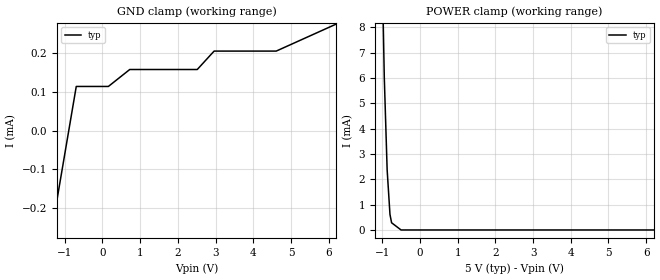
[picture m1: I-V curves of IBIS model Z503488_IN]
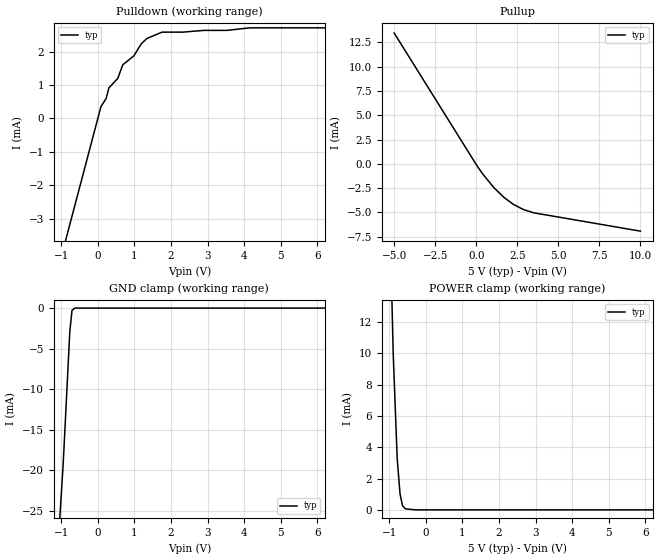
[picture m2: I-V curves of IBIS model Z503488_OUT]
| YOU ARE ONLY AUTHORIZED TO USE THIS SOFTWARE
| ACCORDING TO LICENSOR'S LICENSE RESTRICTIONS.
[IBIS Ver] 3.1
[File Name] mc14018bcl.ibs
[File Rev] 2.0
[Source] Measured and created by ICX Technology
[Date] Friday 7/14/00 9:07:51 AM
[Copyright]
| (C) COPYRIGHT 1993-2000
| MENTOR GRAPHICS CORPORATION
| ICX STANDARD LIBRARY, ICX PROJECT MODELING,
| ICX CUSTOM MODELING, ICX VENDOR MODEL
| ALL RIGHTS RESERVED.
| THE FOLLOWING ARE TRADEMARKS OR SERVICE MARKS OF
| MENTOR GRAPHICS CORPORATION:ICX (R), ICX STANDARD
| LIBRARY(R), ICX PROJECT MODELING(R), ICX CUSTOM
| MODELING(R), qualityIBIS(TM), MODELVIEWER(TM),
| AND MODELEDITOR(TM)
| ALL COPIES OF SOFTWARE, INCLUDING BUT NOT LIMITED TO
| ANY MODIFICATIONS, ENHANCEMENTS OR DERIVATIVE WORKS,
| MUST CONTAIN ALL MENTOR GRAPHICS CORPORATION'S
| NOTICES AND LEGENDS, INCLUDING THOSE EMBEDDED IN
| SOFTWARE AND THOSE AFFIXED TO SOFTWARE MEDIUM
| AND CONTAINER, AS RECEIVED FROM MENTOR GRAPHICS
| CORPORATION.
|  ZAP Model Builder 2.7
[Component] MC14018BCL
[Manufacturer] OnSemiconductor
[Package]
| variable   typ   min   max
R_pkg  .212ohms NA NA
L_pkg  4.758nH NA NA
C_pkg  1.944pF NA NA
[Pin] signal_name  model_name  R_pin  L_pin C_pin
1 DIN Z503488_IN .224 7.258n 2.683p
2 J1 Z503488_IN .216 5.258n 2.19p
3 J2 Z503488_IN .208 3.758n 1.697p
4 _Q2 Z503488_OUT .2 2.758n 1.204p
5 _Q1 Z503488_OUT .2 2.758n 1.204p
6 _Q3 Z503488_OUT .208 3.758n 1.697p
7 J3 Z503488_IN .216 5.258n 2.19p
8 VSS GND .224 7.258n 2.683p
9 J4 Z503488_IN .224 7.258n 2.683p
10 PRE Z503488_IN .216 5.258n 2.19p
11 _Q4 Z503488_OUT .208 3.758n 1.697p
12 J Z503488_IN .2 2.758n 1.204p
13 _Q5 Z503488_OUT .2 2.758n 1.204p
14 C Z503488_IN .208 3.758n 1.697p
15 R_C Z503488_IN .216 5.258n 2.19p
16 VDD POWER .224 7.258n 2.683p
| Models and submodels in the file (2): Z503488_IN (Input), Z503488_OUT (Output)
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| (C) COPYRIGHT 1993-2000
| MENTOR GRAPHICS CORPORATION
| ICX STANDARD LIBRARY, ICX PROJECT MODELING,
| ICX CUSTOM MODELING, ICX VENDOR MODEL
| ALL RIGHTS RESERVED.
| THE FOLLOWING ARE TRADEMARKS OR SERVICE MARKS OF
| MENTOR GRAPHICS CORPORATION:ICX (R), ICX STANDARD
| LIBRARY(R), ICX PROJECT MODELING(R), ICX CUSTOM
| MODELING(R), qualityIBIS(TM), MODELVIEWER(TM),
| AND MODELEDITOR(TM)
| ALL COPIES OF SOFTWARE, INCLUDING BUT NOT LIMITED TO
| ANY MODIFICATIONS, ENHANCEMENTS OR DERIVATIVE WORKS,
| MUST CONTAIN ALL MENTOR GRAPHICS CORPORATION'S
| NOTICES AND LEGENDS, INCLUDING THOSE EMBEDDED IN
| SOFTWARE AND THOSE AFFIXED TO SOFTWARE MEDIUM
| AND CONTAINER, AS RECEIVED FROM MENTOR GRAPHICS
| CORPORATION.
| Model Application Version 1.89 2/18/99.
[Model] Z503488_IN
Model_type Input
Vinl = 1.500V
Vinh = 3.500V
C_comp 4.000pF NA NA
| variable typ   min   max
[Voltage Range] 5.000V NA NA
[GND Clamp Reference] 0.000V NA NA
[POWER Clamp Reference] 5.000V NA NA
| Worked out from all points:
|   POWER clamp passes 1 mA (typ) near -0.81 V on its own axis
[GND Clamp]
-5V       -2.365mA   NA         NA
-694.5mV  114.4uA    NA         NA
156.9mV   114.4uA    NA         NA
723.8mV   158.4uA    NA         NA
2.514V    158.4uA    NA         NA
2.961V    206.2uA    NA         NA
4.608V    206.2uA    NA         NA
10V       443.9uA    NA         NA
[POWER Clamp]
-5V       675.3mA    NA         NA
-1.249V   41.41mA    NA         NA
-1.093V   19.9mA     NA         NA
-1.005V   10.53mA    NA         NA
-946mV    6.035mA    NA         NA
-870mV    2.374mA    NA         NA
-795mV    613.2uA    NA         NA
-752mV    284.1uA    NA         NA
-501.3mV  0A         NA         NA
10V       0A         NA         NA
| (C) COPYRIGHT 1993-2000
| MENTOR GRAPHICS CORPORATION
| ICX STANDARD LIBRARY, ICX PROJECT MODELING,
| ICX CUSTOM MODELING, ICX VENDOR MODEL
| ALL RIGHTS RESERVED.
| THE FOLLOWING ARE TRADEMARKS OR SERVICE MARKS OF
| MENTOR GRAPHICS CORPORATION:ICX (R), ICX STANDARD
| LIBRARY(R), ICX PROJECT MODELING(R), ICX CUSTOM
| MODELING(R), qualityIBIS(TM), MODELVIEWER(TM),
| AND MODELEDITOR(TM)
| ALL COPIES OF SOFTWARE, INCLUDING BUT NOT LIMITED TO
| ANY MODIFICATIONS, ENHANCEMENTS OR DERIVATIVE WORKS,
| MUST CONTAIN ALL MENTOR GRAPHICS CORPORATION'S
| NOTICES AND LEGENDS, INCLUDING THOSE EMBEDDED IN
| SOFTWARE AND THOSE AFFIXED TO SOFTWARE MEDIUM
| AND CONTAINER, AS RECEIVED FROM MENTOR GRAPHICS
| CORPORATION.
| Model Application Version 1.89 2/18/99.
[Model] Z503488_OUT
Model_type Output
Vref=0.000V
Rref=500.0Mohms
Cref=50.00pF
Vmeas=2.500V
C_comp 8.000pF NA NA
| variable typ   min   max
[Voltage Range] 5.000V NA NA
[POWER Clamp Reference] 5.000V NA NA
[Pullup Reference] 5.000V NA NA
[Pulldown Reference] 0.000V NA NA
[GND Clamp Reference] 0.000V NA NA
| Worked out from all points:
|   slope of the pulldown table from 0 to 0.75 V, typ, clamps not added: 449 ohm
|   slope of the pullup table from 0 to 0.75 V, typ, clamps not added: 439 ohm
|   GND clamp passes 1 mA (typ) near -0.72 V on its own axis
|   POWER clamp passes 1 mA (typ) near -0.70 V on its own axis
[GND Clamp]
-5V       -312.9mA   NA         NA
-943.1mV  -19.13mA   NA         NA
-763.5mV  -2.908mA   NA         NA
-702.9mV  -280.9uA   NA         NA
-624.8mV  0A         NA         NA
10V       0A         NA         NA
[Pulldown]
-5V       -20.7mA    NA         NA
86.86mV   352.1uA    NA         NA
228.1mV   594uA      NA         NA
305.5mV   914.2uA    NA         NA
547.6mV   1.198mA    NA         NA
683.9mV   1.604mA    NA         NA
986.3mV   1.869mA    NA         NA
1.186V    2.225mA    NA         NA
1.34V     2.388mA    NA         NA
1.758V    2.579mA    NA         NA
4.155V    2.707mA    NA         NA
10V       2.707mA    NA         NA
[Pullup]
-5V       13.47mA    NA         NA
41mV      -185.2uA   NA         NA
393mV     -1.042mA   NA         NA
1.075V    -2.454mA   NA         NA
1.684V    -3.453mA   NA         NA
2.275V    -4.192mA   NA         NA
2.889V    -4.719mA   NA         NA
3.505V    -5.045mA   NA         NA
10V       -6.933mA   NA         NA
[POWER Clamp]
-5V       524.4mA    NA         NA
-1.051V   28.18mA    NA         NA
-1.038V   24.18mA    NA         NA
-889mV    9.926mA    NA         NA
-781mV    3.271mA    NA         NA
-703mV    1.013mA    NA         NA
-635mV    270.1uA    NA         NA
-560mV    67.29uA    NA         NA
-280mV    0A         NA         NA
10V       0A         NA         NA
[Ramp]
| variable typ min max
dV/dt_r 2.569/24.25n NA NA
dV/dt_f 2.569/23.68n NA NA
R_load = 2.500kOhms
